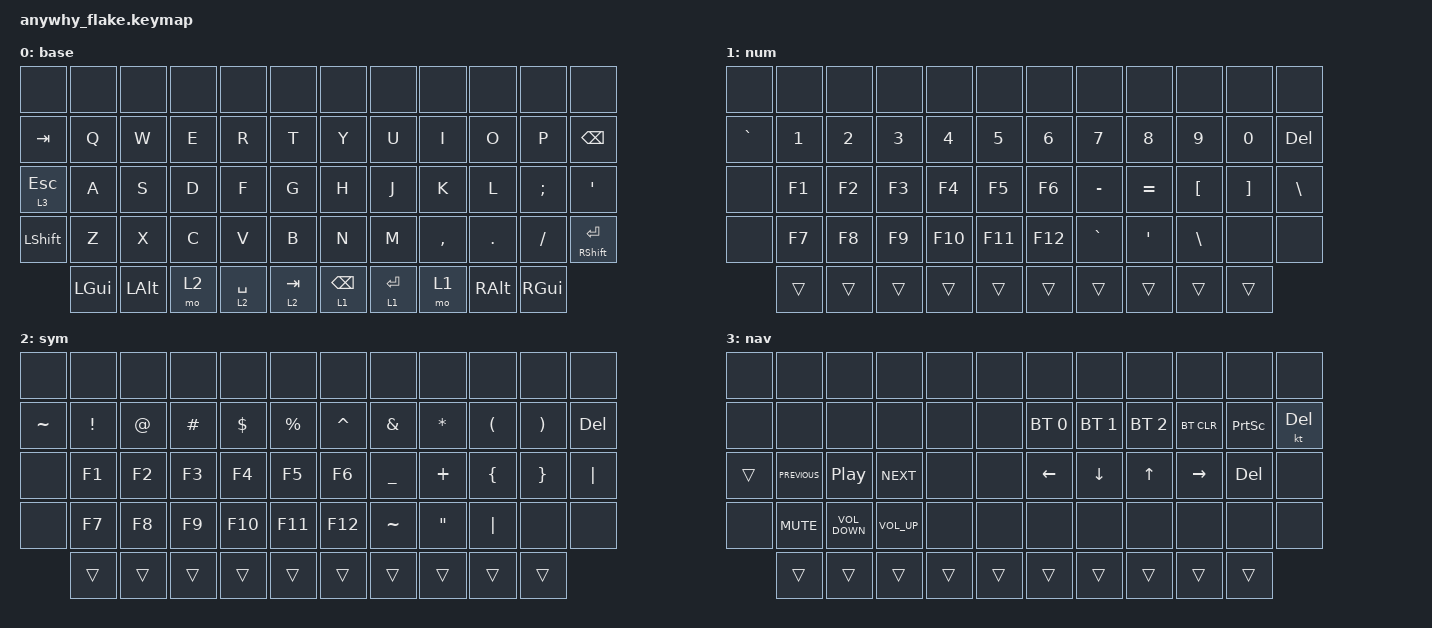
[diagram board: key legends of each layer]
#include <behaviors.dtsi>
#include <dt-bindings/zmk/bt.h>
#include <dt-bindings/zmk/keys.h>

&lt {
    tapping-term-ms = <150>;
    quick-tap-ms = <200>;
};

/ {
    combos {
        compatible = "zmk,combos";

        combo_lctrl {
            bindings = <&kp LEFT_CONTROL>;
            key-positions = <15 16>;
            timeout-ms = <50>;
        };

        combo_lshift {
            bindings = <&kp LEFT_SHIFT>;
            key-positions = <14 15>;
            timeout-ms = <50>;
        };

        combo_lalt {
            bindings = <&kp LEFT_ALT>;
            key-positions = <13 14>;
            timeout-ms = <50>;
        };

        combo_lgui {
            bindings = <&kp LEFT_GUI>;
            key-positions = <14 16>;
            timeout-ms = <50>;
        };

        combo_rctrl {
            bindings = <&kp RIGHT_CONTROL>;
            key-positions = <19 20>;
            timeout-ms = <50>;
        };

        combo_rshift {
            bindings = <&kp RIGHT_SHIFT>;
            key-positions = <20 21>;
            timeout-ms = <50>;
        };

        combo_ralt {
            bindings = <&kp RIGHT_ALT>;
            key-positions = <21 22>;
            timeout-ms = <50>;
        };

        combo_rgui {
            bindings = <&kp RIGHT_GUI>;
            key-positions = <19 21>;
            timeout-ms = <50>;
        };

        combo_esc {
            bindings = <&kp ESCAPE>;
            key-positions = <2 3>;
        };

        combo_bsp {
            bindings = <&kp BACKSPACE>;
            key-positions = <8 9>;
        };

        combo_tab {
            bindings = <&kp TAB>;
            key-positions = <26 27>;
        };
    };

    keymap {
        compatible = "zmk,keymap";

        base {
            bindings = <
&none           &none         &none     &none  &none        &none        &none            &none        &none      &none          &none          &none
&kp TAB         &kp Q         &kp W     &kp E  &kp R        &kp T        &kp Y            &kp U        &kp I      &kp O          &kp P          &kp BSPC
&lt 3 ESCAPE    &kp A         &kp S     &kp D  &kp F        &kp G        &kp H            &kp J        &kp K      &kp L          &kp SEMI       &kp APOS
&kp LEFT_SHIFT  &kp Z         &kp X     &kp C  &kp V        &kp B        &kp N            &kp M        &kp COMMA  &kp DOT        &kp FSLH       &mt RIGHT_SHIFT ENTER
                &kp LEFT_GUI  &kp LALT  &mo 2  &lt 2 SPACE  &lt 2 TAB    &lt 1 BACKSPACE  &lt 1 ENTER  &mo 1      &kp RIGHT_ALT  &kp RIGHT_GUI
            >;
        };

        num {
            bindings = <
&none      &none   &none   &none   &none    &none      &none    &none      &none      &none             &none              &none
&kp GRAVE  &kp N1  &kp N2  &kp N3  &kp N4   &kp N5     &kp N6   &kp N7     &kp N8     &kp N9            &kp N0             &kp DEL
&none      &kp F1  &kp F2  &kp F3  &kp F4   &kp F5     &kp F6   &kp MINUS  &kp EQUAL  &kp LEFT_BRACKET  &kp RIGHT_BRACKET  &kp BACKSLASH
&none      &kp F7  &kp F8  &kp F9  &kp F10  &kp F11    &kp F12  &kp GRAVE  &kp SQT    &kp BACKSLASH     &none              &none
           &trans  &trans  &trans  &trans   &trans     &trans   &trans     &trans     &trans            &trans
            >;
        };

        sym {
            bindings = <
&none      &none            &none        &none     &none       &none          &none      &none           &none              &none                 &none                  &none
&kp TILDE  &kp EXCLAMATION  &kp AT_SIGN  &kp HASH  &kp DOLLAR  &kp PERCENT    &kp CARET  &kp AMPERSAND   &kp ASTERISK       &kp LEFT_PARENTHESIS  &kp RIGHT_PARENTHESIS  &kp DEL
&none      &kp F1           &kp F2       &kp F3    &kp F4      &kp F5         &kp F6     &kp UNDERSCORE  &kp PLUS           &kp LEFT_BRACE        &kp RIGHT_BRACE        &kp PIPE
&none      &kp F7           &kp F8       &kp F9    &kp F10     &kp F11        &kp F12    &kp TILDE       &kp DOUBLE_QUOTES  &kp PIPE              &none                  &none
           &trans           &trans       &trans    &trans      &trans         &trans     &trans          &trans             &trans                &trans
            >;
        };

        nav {
            bindings = <
&none   &none           &none              &none            &none   &none     &none         &none         &none         &none       &none            &none
&none   &none           &none              &none            &none   &none     &bt BT_SEL 0  &bt BT_SEL 1  &bt BT_SEL 2  &bt BT_CLR  &kp PRINTSCREEN  &kt DELETE
&trans  &kp C_PREVIOUS  &kp C_PLAY_PAUSE   &kp C_NEXT       &none   &none     &kp LEFT      &kp DOWN      &kp UP_ARROW  &kp RIGHT   &kp DELETE       &none
&none   &kp C_MUTE      &kp C_VOLUME_DOWN  &kp C_VOLUME_UP  &none   &none     &none         &none         &none         &none       &none            &none
        &trans          &trans             &trans           &trans  &trans    &trans        &trans        &trans        &trans      &trans
            >;
        };
    };

    conditional_layers {
        compatible = "zmk,conditional-layers";

        tri_layer {
            if-layers = <1 2>;
            then-layer = <3>;
        };
    };
};
